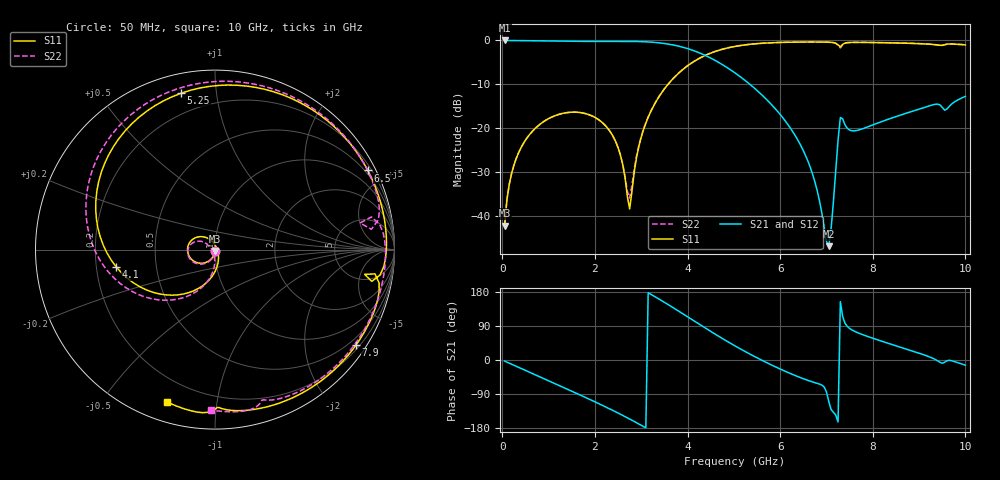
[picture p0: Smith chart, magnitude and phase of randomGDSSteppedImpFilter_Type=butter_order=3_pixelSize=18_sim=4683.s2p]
! freq	dB(S11)	phase(S11)	dB(S12)	phase(S12)
!  dB(S21)	phase(S21)	dB(S22)	phase(S22)
!S-par simulation data
#  GHz  S  DB  R 50
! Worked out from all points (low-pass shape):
!   200 points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, 50 MHz to 10 GHz, reference 50 ohm
!   highest |S21| = 0.00 dB at 50 MHz (marker M1); lowest = -46.8 dB at 7.05 GHz (marker M2)
!   |S21| within 3 dB of the highest: start of sweep to 4.296 GHz
!   lowest |S11| = -42.1 dB at 50 MHz (marker M3), VSWR 1.02, Z = 50 - j0.787 ohm
!   |S11| at or under -10 dB: start of sweep to 3.578 GHz
!   |S22| runs from -42.1 to -0.4 dB; largest |S21 - S12| = 0
!   S11 on the Smith chart (normalised r, x): 50 MHz: 1.00, -0.02; 4.1 GHz: 0.28, -0.08; 5.25 GHz: 0.09, +0.80; 6.5 GHz: 0.37, +4.07; 7.9 GHz: 0.30, -3.22; 10 GHz: 0.09, -0.73
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0.05  -42.07 -91.8  -0.00 -2.8  -0.00 -2.8  -42.09 -92.0
0.2  -30.27 -101.3  -0.02 -11.1  -0.02 -11.1  -30.27 -100.5
0.5  -22.67 -119.0  -0.06 -27.5  -0.06 -27.5  -22.67 -117.0
1.15  -17.06 -156.4  -0.16 -63.0  -0.16 -63.0  -17.06 -151.2
1.75  -16.52 168.4  -0.21 -96.2  -0.21 -96.2  -16.53 177.8
2.45  -23.04 120.5  -0.19 -136.9  -0.19 -136.9  -23.05 145.9
2.6  -28.19 103.0  -0.19 -146.2  -0.19 -146.2  -28.07 147.5
2.75  -38.30 15.0  -0.20 -155.7  -0.20 -155.7  -35.86 -147.3
3  -22.00 -78.4  -0.27 -172.2  -0.27 -172.2  -21.80 -91.7
3.4  -12.53 -113.3  -0.56 159.7  -0.56 159.7  -12.47 -111.3
4.1  -5.05 -170.2  -2.20 106.3  -2.20 106.3  -5.01 -160.4
4.55  -2.68 153.7  -4.29 71.7  -4.29 71.7  -2.66 166.7
5.05  -1.31 116.2  -7.57 35.5  -7.57 35.5  -1.30 131.9
5.25  -1.00 102.2  -9.15 22.0  -9.15 22.0  -0.99 118.9
5.85  -0.51 63.7  -15.00 -15.3  -15.00 -15.3  -0.51 82.4
6.5  -0.36 27.4  -25.04 -49.4  -25.04 -49.4  -0.37 47.1
6.7  -0.36 17.1  -30.40 -58.0  -30.40 -58.0  -0.36 36.9
7.05  -0.41 -0.4  -46.77 -109.6  -46.77 -109.6  -0.41 19.2
7.3  -1.46 -9.4  -17.51 153.9  -17.51 153.9  -1.71 10.4
7.9  -0.46 -34.2  -19.61 61.6  -19.61 61.6  -0.45 -15.2
8.35  -0.54 -51.4  -17.85 43.4  -17.85 43.4  -0.52 -33.1
10  -1.01 -107.5  -12.71 -13.7  -12.71 -13.7  -0.97 -91.3
